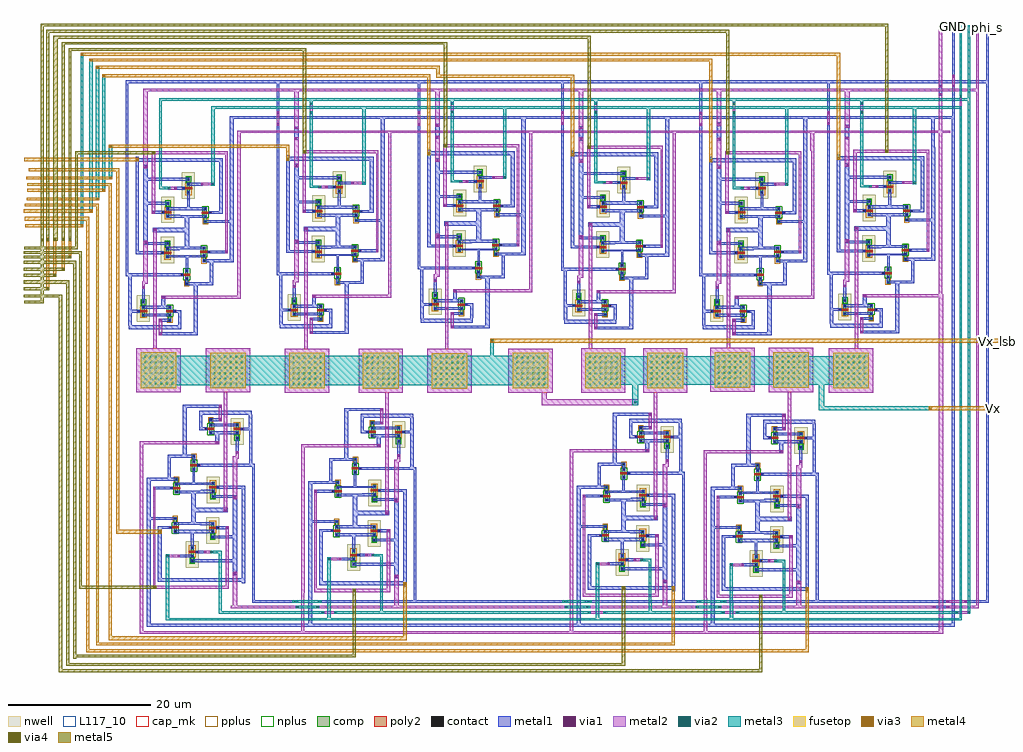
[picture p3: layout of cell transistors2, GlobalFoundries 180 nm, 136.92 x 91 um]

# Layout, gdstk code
from math import pi, radians
import gdstk
lib = gdstk.Library(unit=1e-6, precision=5e-09)
def R(c, l, rs):  # rectangles x0, y0, x1, y1
    for r in rs: c.add(gdstk.rectangle(r[:2], r[2:], *l))
def A(c, l, x, y, w, h, nx, ny, dx, dy):  # array of equal rectangles
    R(c, l, [(x+i*dx, y+j*dy, x+i*dx+w, y+j*dy+h) for i in range(nx) for j in range(ny)])
def P(c, l, *ps):  # polygons
    for p in ps: c.add(gdstk.Polygon(p, *l))
nwell = (21, 0)
comp = (22, 0)
poly2 = (30, 0)
pplus = (31, 0)
nplus = (32, 0)
contact = (33, 0)
metal1 = (34, 0)
via1 = (35, 0)
metal2 = (36, 0)
via2 = (38, 0)
via3 = (40, 0)
via4 = (41, 0)
metal3 = (42, 0)
metal4 = (46, 0)
fusetop = (75, 0)
metal5 = (81, 0)
cap_mk = (117, 5)
L117_10 = (117, 10)

nfet_2 = lib.new_cell('nfet$2')
R(nfet_2, comp, [(-0.42,-0.01,0,0.43), (0.66,-0.01,1.08,0.43), (1.08,-0.01,1.79,0.43), (0,0,0.66,0.42)])
R(nfet_2, poly2, [(0.19,-0.3,0.47,0.72), (0.15,0.72,0.51,1.08)])
R(nfet_2, pplus, [(1.08,-0.17,1.96,0.59)])
R(nfet_2, nplus, [(-0.59,-0.25,1.08,0.67)])
R(nfet_2, contact, [(-0.32,0.1,-0.1,0.32), (0.76,0.1,0.98,0.32), (1.47,0.1,1.69,0.32), (0.22,0.79,0.44,1.01)])
R(nfet_2, metal1, [(-0.4,0.02,-0.02,0.4), (0.68,0.02,1.06,0.4), (1.39,0.02,1.77,0.4), (0.14,0.71,0.52,1.09)])

pfet_1 = lib.new_cell('pfet$1')
R(pfet_1, nwell, [(-1.16,-0.71,2.55,1.13)])
R(pfet_1, comp, [(-0.46,-0.01,0,0.43), (0.66,-0.01,1.12,0.43), (1.12,-0.01,1.85,0.43), (0,0,0.66,0.42)])
R(pfet_1, poly2, [(0.19,-0.3,0.47,0.72), (0.14,0.72,0.52,1.1)])
R(pfet_1, pplus, [(-0.63,-0.25,1.12,0.67)])
R(pfet_1, nplus, [(1.12,-0.17,2.02,0.59)])
R(pfet_1, contact, [(-0.34,0.1,-0.12,0.32), (0.78,0.1,1,0.32), (1.51,0.1,1.73,0.32), (0.22,0.8,0.44,1.02)])
R(pfet_1, metal1, [(-0.42,0.02,-0.04,0.4), (0.7,0.02,1.08,0.4), (1.43,0.02,1.81,0.4), (0.14,0.72,0.52,1.1)])

nfet_1_1 = lib.new_cell('nfet$1$1')
R(nfet_1_1, comp, [(-0.42,-0.01,0,0.43), (0.66,-0.01,1.08,0.43), (1.08,-0.01,1.79,0.43), (0,0,0.66,0.42)])
R(nfet_1_1, poly2, [(0.15,-0.66,0.51,-0.3), (0.19,-0.3,0.47,0.72)])
R(nfet_1_1, pplus, [(1.08,-0.17,1.96,0.59)])
R(nfet_1_1, nplus, [(-0.59,-0.25,1.08,0.67)])
R(nfet_1_1, contact, [(0.22,-0.59,0.44,-0.37), (-0.32,0.1,-0.1,0.32), (0.76,0.1,0.98,0.32), (1.47,0.1,1.69,0.32)])
R(nfet_1_1, metal1, [(0.14,-0.67,0.52,-0.29), (-0.4,0.02,-0.02,0.4), (0.68,0.02,1.06,0.4), (1.39,0.02,1.77,0.4)])

transistors2_1 = lib.new_cell('transistors2$1')
R(transistors2_1, metal1, [(-0.08,-14.76,3.97,-14.37), (3.97,-14.76,5.42,-14.37), (4.82,-14.76,5.42,-7.36), (-4.26,-13.95,3.06,-13.4), (2.66,-13.55,3.06,-13.31), (-4.33,-13.4,-3.85,-11.59), (2.66,-13.31,3.08,-11.24), (-0.08,-12.86,1.66,-12.48), (-2.43,-12.15,-0.38,-11.77), (-0.38,-12.15,1.66,-11.77), (1.97,-11.61,2.66,-11.24), (-4.33,-11.59,-3.9,-6.2), (-4.27,-11.59,-2.75,-11.21), (-2.43,-11.07,1.66,-10.65), (0.27,-11.07,0.81,-9.26), (-2.43,-10.3,-2.02,-7.9), (3.65,-7.74,4.03,-6.65), (3.65,-7.74,7.53,-7.36), (7.09,-7.74,7.53,-4.53), (-4.7,-6.49,-4.33,10.3), (-4.33,-6.49,3.34,-6.11), (3.71,-5.95,4.03,-3.82), (6.09,-4.53,8.32,-4.15), (8.32,-4.53,10.44,-4.15), (9.87,-4.15,10.44,9.46), (0.95,-3.82,6.47,-3.58), (-3.34,-3.4,-0.94,-3.02), (-0.94,-3.4,0.63,-3.02), (6.78,-3.28,8.43,-2.9), (8.43,-3.28,9.57,-2.9), (-3.34,-3.02,-2.88,10.28), (0.95,-2.84,2.89,-2.36), (2.89,-2.74,6.47,-2.36), (3.55,-2.74,4.2,2.07), (-2.26,-2.11,-0.94,-1.73), (-0.94,-2.11,1.33,-1.73), (-2.26,-1.73,-1.6,9.12), (-0.93,-0.335,4.2,0.29), (6.26,0.98,8.8,1.36), (8.8,0.99,9.87,1.36), (1,1.69,2.91,2.09), (2.91,1.69,6.64,2.07), (6.95,2.23,8.91,2.61), (-1.07,2.27,0.68,2.65), (8.38,2.61,8.91,10.07), (1,2.77,6.64,3.21), (3.88,2.77,4.26,5.48), (-1.6,3.55,-1.07,3.94), (-1.07,3.56,1.38,3.94), (2.08,5.66,3.56,6.04), (3.88,6.22,6.11,6.6), (-2.26,6.92,4.26,7.33), (9.87,9.46,10.44,11.38), (-2.88,9.53,8.38,10.07)])
R(transistors2_1, via1, [(0.01,-14.7,0.27,-14.44), (0.005,-12.795,0.265,-12.535), (-0.72,-12.105,-0.46,-11.845), (0.415,-9.625,0.675,-9.365), (-2.34,-8.26,-2.08,-8), (9.27,-3.21,9.53,-2.95), (-2.02,-1.95,-1.76,-1.69), (-0.735,-0.15,-0.475,0.11), (-0.995,2.325,-0.735,2.585), (2.145,5.725,2.405,5.985), (5.8,6.27,6.06,6.53), (-2.045,8.705,-1.785,8.965)])
R(transistors2_1, metal2, [(-0.84,-15.24,-0.37,-8.02), (-0.08,-14.76,0.37,-12.48), (0.27,-9.67,11.4,-9.26), (10.96,-9.67,11.4,11.12), (-2.43,-8.27,-2.02,-7.2), (-0.84,-8.02,-0.37,0.2), (-2.26,-7.53,-1.6,-1.52), (9.24,-3.28,9.57,10.87), (-1.07,2.27,-0.6,11.04), (1.15,5.66,2.43,6.04), (5.79,6.25,7.62,6.6), (-2.26,8.62,-1.6,10.93), (-1,10.61,9.57,11.04)])
R(transistors2_1, via2, [(1.2,5.72,1.46,5.98), (7.35,6.295,7.61,6.555)])
R(transistors2_1, metal3, [(-0.04,5.72,1.53,6.04), (-0.04,5.72,0.34,11.47), (7.31,6.2,7.76,11.64)])
transistors2_1.add(gdstk.Reference(nfet_2, (6.24,2.75), rotation=3*pi/2))
transistors2_1.add(gdstk.Reference(pfet_1, (1.4,2.13), rotation=pi/2))
transistors2_1.add(gdstk.Reference(pfet_1, (1.35,-3.54), rotation=pi/2))
transistors2_1.add(gdstk.Reference(nfet_2, (6.07,-2.76), rotation=3*pi/2))
transistors2_1.add(gdstk.Reference(pfet_1, (4.28,5.52), rotation=pi/2))
transistors2_1.add(gdstk.Reference(nfet_1_1, (3.63,-5.97), rotation=3*pi/2))
transistors2_1.add(gdstk.Reference(nfet_2, (1.26,-11.09), rotation=3*pi/2))
transistors2_1.add(gdstk.Reference(pfet_1, (-2.03,-11.73), rotation=pi/2))
transistors2_1.add(gdstk.Label('Dx', (-3.14,9.88), layer=34, texttype=10))
transistors2_1.add(gdstk.Label('phi_s', (-4.52,10.07), layer=34, texttype=10))
transistors2_1.add(gdstk.Label('GND', (10.2,9.11), layer=34, texttype=10))
transistors2_1.add(gdstk.Label('phi_s_b', (0.19,11.29), layer=42, texttype=10))
transistors2_1.add(gdstk.Label('Vref', (7.5,11.33), layer=42, texttype=10))
transistors2_1.add(gdstk.Label('Dx_b', (-0.89,10.87), layer=36, texttype=10))
transistors2_1.add(gdstk.Label('sw_node', (-0.6,-7.79), layer=36, texttype=10))
transistors2_1.add(gdstk.Label('VDD', (-1.94,10.73), layer=36, texttype=10))
transistors2_1.add(gdstk.Label('Vin', (11.22,10.84), layer=36, texttype=10))

cap_mim_1 = lib.new_cell('cap_mim$1')
R(cap_mim_1, metal2, [(-0.6,-0.6,5.6,5.6)])
A(cap_mim_1, via2, 0.47, 0.47, 0.26, 0.26, 6, 6, 0.76, 0.76)
R(cap_mim_1, metal3, [(0,0,5,5)])
R(cap_mim_1, fusetop, [(0,0,5,5)])
R(cap_mim_1, cap_mk, [(-0.6,-0.6,5.6,5.6)])
R(cap_mim_1, L117_10, [(0,0,5,0.1)])

via_dev = lib.new_cell('via_dev')
R(via_dev, metal1, [(0,0,0.4,0.4)])
R(via_dev, via1, [(0.07,0.07,0.33,0.33)])
R(via_dev, metal2, [(0,0,0.4,0.4)])
R(via_dev, via2, [(0.07,0.07,0.33,0.33)])
R(via_dev, metal3, [(0,0,0.4,0.4)])

via_dev_2 = lib.new_cell('via_dev$2')
R(via_dev_2, metal1, [(0,0,0.4,0.4)])
R(via_dev_2, via1, [(0.07,0.07,0.33,0.33)])
R(via_dev_2, metal2, [(0,0,0.4,0.4)])
R(via_dev_2, via2, [(0.07,0.07,0.33,0.33)])
R(via_dev_2, via3, [(0.07,0.07,0.33,0.33)])
R(via_dev_2, metal3, [(0,0,0.4,0.4)])
R(via_dev_2, metal4, [(0,0,0.4,0.4)])

via_dev_3 = lib.new_cell('via_dev$3')
R(via_dev_3, metal2, [(0,0,0.4,0.4)])
R(via_dev_3, via2, [(0.07,0.07,0.33,0.33)])
R(via_dev_3, via3, [(0.07,0.07,0.33,0.33)])
R(via_dev_3, via4, [(0.07,0.07,0.33,0.33)])
R(via_dev_3, metal3, [(0,0,0.4,0.4)])
R(via_dev_3, metal4, [(0,0,0.4,0.4)])
R(via_dev_3, metal5, [(0,0,0.4,0.4)])

transistors2 = lib.new_cell('transistors2')
R(transistors2, metal1, [(-19.23,-56.59,93.74,-56.23), (-19.21,-56.59,-18.65,-51.65), (3.44,-56.59,4.03,-52.09), (41.11,-56.59,41.65,-52.77), (59.89,-56.59,60.45,-52.91), (93.74,-56.59,94.13,14.61), (91.02,-54.04,93.35,-53.69), (-4.44,-53.29,2.02,-52.89), (-4.44,-53.29,-4.06,-50.57), (4.75,-53.29,17.62,-52.89), (17.62,-53.29,39.89,-52.89), (18.21,-53.29,18.57,-51.01), (42.32,-53.29,54.74,-52.89), (54.74,-53.29,58.56,-52.89), (55.88,-53.29,56.26,-51.69), (61.24,-53.29,74.37,-52.89), (74.37,-53.29,93.39,-52.89), (74.66,-53.29,75.04,-51.83), (95.43,-53.29,98.52,-52.89), (98.52,-53.29,98.9,20.03), (58.31,9.34,58.68,13.99), (-22.15,9.35,-21.78,20.03), (-0.99,9.51,-0.62,14.07), (76.25,9.58,76.62,14.16), (38.92,10.14,39.29,14.16), (18.78,10.3,19.15,14.03), (72.88,10.42,73.47,14.97), (-7.58,10.43,-7.01,14.97), (13.58,10.59,14.17,14.97), (90.82,10.66,91.36,14.97), (53.49,11.22,54.08,14.97), (33.35,11.38,33.94,14.97), (60.75,11.53,61.41,14.14), (41.36,11.55,42.02,13.58), (1.45,11.67,2.11,13.53), (78.69,11.75,79.35,13.82), (21.22,11.84,21.88,13.94), (-7.01,14.61,94.13,14.97), (93.76,14.97,94.13,19.42), (58.31,15.22,58.68,20.03), (76.25,15.23,76.61,20.03), (-0.99,15.3,-0.61,20.03), (38.92,15.33,39.28,20.03), (18.78,15.34,19.17,20.03), (91.91,17.85,92.41,19.42), (-21.78,19.63,98.52,20.03), (98.52,20.03,98.9,27.78), (93.76,20.4,94.13,27.79)])
R(transistors2, via1, [(91.08,-54,91.34,-53.74), (92.97,-53.99,93.23,-53.73), (92.99,-53.21,93.25,-52.95), (95.48,-53.21,95.74,-52.95), (60.96,11.64,61.22,11.9), (1.53,11.71,1.8,11.98), (41.57,11.71,41.83,11.97), (78.89,11.81,79.15,12.07), (21.37,11.93,21.63,12.19), (1.6,13.22,1.86,13.48), (41.56,13.28,41.82,13.54), (78.89,13.5,79.15,13.76), (21.42,13.61,21.68,13.87), (58.37,13.68,58.63,13.94), (18.84,13.72,19.1,13.98), (-0.93,13.76,-0.67,14.02), (60.93,13.79,61.19,14.05), (76.32,13.84,76.58,14.1), (38.97,13.86,39.23,14.12), (58.37,15.3,58.63,15.56), (76.3,15.36,76.56,15.62), (18.82,15.41,19.08,15.67), (38.96,15.41,39.22,15.67), (-0.94,15.42,-0.68,15.68), (91.99,17.91,92.25,18.17), (91.98,19.09,92.24,19.35), (93.81,19.12,94.07,19.38), (93.81,20.48,94.07,20.74)])
R(transistors2, metal2, [(-20.17,-57.63,-19.73,-51.39), (-19.73,-57.63,92.49,-57.27), (2.48,-57.63,2.9,-51.83), (40.15,-57.63,40.58,-52.51), (58.93,-57.63,59.41,-52.65), (91.91,-57.27,92.49,-9.95), (5.27,-54.83,7.39,-54.48), (42.68,-54.83,45.16,-54.48), (61.46,-54.83,63.84,-54.48), (94.28,-54.83,96.29,-54.48), (-7.47,-54.04,2.08,-53.69), (-7.17,-54.04,-6.53,-51.2), (4.57,-54.04,15.07,-53.69), (15.07,-54.04,39.86,-53.69), (15.48,-54.04,16.16,-51.64), (42.42,-54.04,52.79,-53.69), (52.79,-54.04,58.28,-53.69), (53.15,-54.04,53.81,-52.32), (60.94,-54.04,71.72,-53.69), (71.72,-54.04,91.5,-53.69), (71.93,-54.04,72.6,-52.46), (92.92,-54.04,97.49,-53.69), (97.16,-54.04,97.49,18.83), (92.91,-53.29,95.85,-52.89), (70.7,-26.29,71.17,-23.38), (51.92,-26.15,52.39,-23.46), (36.16,-25.57,49.76,-24.73), (14.25,-25.47,14.72,-23.46), (-8.4,-25.03,-7.93,-23.41), (36.16,-24.73,36.89,-23.42), (42.78,-18.11,43.25,-15.4), (-18.29,-18.02,-17.82,-16.19), (2.87,-18,3.34,-16.03), (22.64,-17.97,23.11,-15.24), (80.11,-17.93,80.58,-15.96), (62.17,-17.83,62.64,-16.2), (60.75,9.97,61.41,11.97), (-19.71,9.98,-19.05,18.5), (1.45,10.14,2.11,12.08), (73.89,10.16,74.41,12.98), (-6.49,10.17,-6.05,12.98), (78.69,10.21,79.35,12.15), (14.66,10.33,15.11,12.98), (91.91,10.4,92.35,12.98), (41.36,10.77,42.02,12.07), (21.22,10.93,21.88,12.26), (54.6,10.96,55.02,12.98), (34.43,11.12,34.88,12.98), (-6.05,12.67,93.47,12.98), (91.91,12.98,92.41,18.24), (1.45,13.17,2.11,18.83), (41.36,13.2,42.02,18.83), (78.69,13.35,79.37,18.83), (21.22,13.5,21.89,18.83), (58.31,13.6,58.68,15.6), (60.77,13.62,61.41,18.83), (18.78,13.63,19.15,15.71), (-0.99,13.68,-0.62,15.72), (76.25,13.78,76.62,15.67), (38.92,13.79,39.29,15.71), (3.67,15.27,4.05,16.92), (62.97,15.3,63.35,16.96), (80.91,15.34,81.29,16.96), (43.58,15.35,43.96,16.95), (23.44,15.39,23.82,16.96), (94.81,16.03,95.14,17.91), (-19.71,18.5,97.16,18.83), (97.16,18.83,97.49,27.82), (91.91,19.02,92.41,27.76), (93.76,19.09,94.13,20.78)])
P(transistors2, metal2, [(-6.05,12.67),(-6.05,12.98),(-6.05,12.98),(-6.05,12.67)])
R(transistors2, via2, [(96.01,-54.8,96.27,-54.54), (63.46,-54.79,63.72,-54.53), (7.09,-54.78,7.35,-54.52), (42.72,-54.78,42.98,-54.52), (44.85,-54.78,45.11,-54.52), (61.52,-54.78,61.78,-54.52), (94.32,-54.78,94.58,-54.52), (5.31,-54.77,5.57,-54.51), (42.48,-54,42.74,-53.74), (61,-54,61.26,-53.74), (1.75,-53.99,2.01,-53.73), (4.62,-53.99,4.88,-53.73), (39.47,-53.99,39.73,-53.73), (57.88,-53.99,58.14,-53.73), (49.19,-25.25,49.45,-24.99), (3.73,15.35,3.99,15.61), (63.03,15.38,63.29,15.64), (80.98,15.42,81.24,15.68), (43.65,15.44,43.91,15.7), (23.5,15.46,23.76,15.72), (94.82,16.1,95.08,16.36), (3.72,16.62,3.98,16.88), (63.05,16.63,63.31,16.89), (43.65,16.64,43.91,16.9), (80.97,16.64,81.23,16.9), (23.5,16.65,23.76,16.91), (94.85,17.61,95.11,17.87)])
R(transistors2, via3, [(90.59,-26.15,90.85,-25.89), (29.07,-16.73,29.33,-16.47), (-28.43,-0.49,-28.17,-0.23), (-27.23,1.53,-26.97,1.79), (-26.26,3.29,-26,3.55), (-25.37,4.47,-25.11,4.73), (-24.47,6.2,-24.21,6.46), (-24.44,10.65,-24.18,10.91), (-25.36,20.52,-25.1,20.78), (-26.28,21.74,-26.02,22), (-27.25,22.77,-26.99,23.03), (-28.44,23.57,-28.18,23.83)])
R(transistors2, via4, [(-33.24,-9.34,-32.98,-9.08), (-32.28,-7.46,-32.02,-7.2), (-31.05,-6.57,-30.79,-6.31), (-30.14,-4.89,-29.88,-4.63), (-30.13,-2.46,-29.87,-2.2), (-34,-2.45,-33.74,-2.19), (-33.23,-2.43,-32.97,-2.17), (-31.07,-2.41,-30.81,-2.15), (-32.27,-2.38,-32.01,-2.12)])
R(transistors2, metal3, [(-16.54,-55.73,94.81,-55.41), (-16.53,-55.73,-16.06,-51.91), (6.12,-55.73,6.59,-52.35), (43.79,-55.73,44.28,-53.03), (62.57,-55.73,63.04,-53.17), (94.81,-55.73,95.14,16.03), (-9.11,-54.83,-8.72,-51.74), (-9.11,-54.83,5.66,-54.45), (7.05,-54.83,13.52,-54.48), (13.52,-54.83,43.06,-54.48), (13.54,-54.83,13.89,-52.18), (44.8,-54.83,50.34,-54.48), (50.34,-54.83,61.87,-54.48), (63.39,-54.83,69.98,-54.48), (69.98,-54.83,94.64,-54.48), (95.98,-54.83,96.29,17.49), (51.21,-54.48,51.6,-52.86), (69.99,-54.48,70.35,-53), (1.7,-54.04,4.96,-53.69), (39.42,-54.04,43.02,-53.69), (57.83,-54.04,61.37,-53.69), (1.21,-53.29,5.3,-52.89), (39.07,-53.29,43.19,-52.89), (57.93,-53.29,62.09,-52.89), (75.04,-26.24,75.8,-22.7), (75.8,-26.24,90.94,-25.72), (48.88,-25.57,49.76,-22.7), (-19.59,-22.73,36.65,-18.62), (42.78,-22.7,81.6,-18.65), (28.95,-18.62,29.49,-16.39), (-28.5,-0.57,-28.11,23.87), (-27.31,1.46,-26.83,23.08), (-26.34,3.2,-25.88,22.09), (-25.43,4.42,-25.06,4.79), (-25.43,4.79,-25.06,20.84), (-24.54,6.13,-24.08,10.99), (62.97,10.51,63.35,15.7), (-17.49,10.52,-17.11,17.14), (3.67,10.68,4.05,15.66), (70.34,10.68,70.77,16.42), (-10.14,10.69,-9.69,16.03), (80.91,10.75,81.29,15.74), (11.02,10.85,11.49,16.42), (88.23,10.92,88.71,16.42), (43.58,11.31,43.96,15.76), (23.44,11.47,23.82,15.78), (50.93,11.48,51.38,16.42), (30.8,11.64,31.24,16.42), (-10.14,16.03,95.14,16.42), (3.67,16.55,4.04,17.49), (62.97,16.56,63.34,17.49), (43.58,16.58,43.97,17.49), (23.44,16.6,23.82,17.49), (80.91,16.6,81.3,17.49), (-17.49,17.14,95.98,17.49), (95.98,17.49,96.29,27.79), (94.81,17.6,95.14,27.79)])
R(transistors2, metal4, [(-27.69,-60.18,73.21,-59.76), (73.21,-60.18,73.66,-51.06), (-27.69,-59.76,-27.29,0.88), (-22.61,-59.23,15.3,-58.89), (15.3,-59.23,54.86,-58.89), (54.43,-59.23,54.86,-50.92), (-26.32,-59.22,-25.93,2.75), (-25.93,-59.22,-22.61,-58.89), (-21.07,-58.5,17.22,-57.98), (16.76,-58.5,17.22,-50.38), (-24.52,-58.49,-24.15,5.57), (-24.15,-58.49,-21.07,-57.98), (-23.47,-43.57,-23.07,7.71), (-23.07,-43.57,-21.66,-43), (-21.66,-43.56,-17.15,-43), (90.48,-26.24,99.82,-25.72), (28.95,-16.78,100.41,-16.19), (-33.32,-9.41,-32.88,-2.07), (-32.37,-7.54,-31.89,-2.03), (-31.13,-6.65,-30.72,-2.11), (-30.19,-4.95,-29.83,-2.12), (-36.28,-0.57,-33.92,-0.16), (-33.92,-0.57,-28.11,-0.16), (-36.33,0.33,-33.94,0.88), (-33.94,0.33,-27.69,0.88), (-36.44,1.46,-33.86,1.91), (-33.86,1.46,-26.83,1.91), (-36.32,2.36,-33.88,2.75), (-33.88,2.36,-26.32,2.75), (-36.06,3.2,-33.89,3.59), (-33.89,3.2,-25.88,3.59), (-36,4.42,-34.01,4.79), (-34.01,4.42,-25.06,4.79), (-35.97,5.23,-33.81,5.57), (-33.81,5.23,-24.52,5.57), (-36.11,6.13,-33.84,6.52), (-33.84,6.13,-24.08,6.52), (-35.74,7.26,-33.78,7.71), (-33.78,7.26,-23.47,7.71), (59.67,8.57,60.13,22.24), (-36.37,8.69,-33.72,9.18), (-33.72,8.69,-29.63,9.18), (-29.63,8.69,-20.33,9.18), (0.37,8.73,0.8,10.99), (77.61,8.88,78.04,23.87), (40.28,9.4,40.74,20.84), (20.14,9.53,20.57,20.85), (-24.54,10.59,0.8,10.99), (21.4,20.42,40.28,20.84), (-25.43,20.46,-24.43,20.85), (-24.43,20.48,20.57,20.85), (21.4,20.84,21.89,22.09), (-26.34,21.63,21.4,22.09), (59.67,22.24,60.14,22.7), (-27.31,22.7,60.14,23.08), (-28.5,23.5,77.61,23.87)])
R(transistors2, metal5, [(-31.57,-63.02,67.16,-62.62), (-31.57,-62.62,-31.05,-10.02), (66.7,-62.62,67.16,-60.6), (-30.5,-62.13,47.88,-61.73), (-30.5,-61.73,-30.08,-8), (47.44,-61.73,47.88,-58.41), (-29.52,-61.12,-29.09,-5.3), (-29.09,-60.9,9.69,-60.57), (9.69,-60.9,10.11,-51.32), (66.7,-60.6,67.16,-52.14), (47.44,-58.41,47.9,-50.92), (-28.67,-51.31,-17.91,-50.88), (-28.67,-50.88,-28.31,-3.94), (-36.43,-11.23,-34.07,-10.87), (-34.07,-11.23,-33.64,-2.1), (-36.44,-10.43,-31.57,-10.02), (-36.44,-9.41,-32.88,-8.97), (-36.44,-8.49,-34,-8), (-34,-8.49,-30.5,-8), (-36.44,-7.54,-33.99,-7.12), (-33.99,-7.54,-31.89,-7.12), (-36.47,-6.65,-34.03,-6.25), (-34.03,-6.65,-30.72,-6.25), (-36.51,-5.69,-33.87,-5.3), (-33.87,-5.69,-29.52,-5.3), (-36.51,-4.95,-33.92,-4.58), (-33.92,-4.95,-29.83,-4.58), (-36.51,-4.3,-33.91,-3.94), (-33.91,-4.3,-28.67,-3.94), (-36.4,-3.67,-33.92,-3.29), (-33.92,-3.67,-29.25,-3.29), (-29.25,-3.67,-28.87,9.66), (-34.07,-2.52,-33.64,27.61), (-30.19,-2.52,-29.83,24.55), (-33.32,-2.51,-32.88,26.72), (-32.37,-2.48,-31.74,25.87), (-31.13,-2.47,-30.72,25.08), (62.05,9.65,62.49,24.11), (-29.25,9.66,-18.05,10.09), (2.64,9.82,3.14,24.54), (84.4,9.89,84.83,20.59), (42.62,10.45,43.05,21.81), (22.48,10.61,22.95,25.08), (84.4,20.59,84.81,27.61), (42.62,21.81,43.1,25.87), (62.05,24.11,62.48,26.72), (-29.83,24.17,2.64,24.54), (-31.13,25.08,22.95,25.4), (-32.37,25.87,43.1,26.3), (-33.32,26.72,62.48,27.14), (-34.07,27.61,84.81,27.98)])
transistors2.add(gdstk.Reference(transistors2_1, (43.62,-0.16)))
transistors2.add(gdstk.Reference(cap_mim_1, (32.12,-23.2)))
transistors2.add(gdstk.Reference(cap_mim_1, (0.76,-23.2)))
transistors2.add(gdstk.Reference(transistors2_1, (23.48,0)))
transistors2.add(gdstk.Reference(transistors2_1, (3.71,-0.79)))
transistors2.add(gdstk.Reference(transistors2_1, (-17.45,-0.95)))
transistors2.add(gdstk.Reference(transistors2_1, (63.01,-0.96)))
transistors2.add(gdstk.Reference(transistors2_1, (80.95,-0.72)))
transistors2.add(gdstk.Reference(transistors2_1, (70.33,-41.53), rotation=pi))
transistors2.add(gdstk.Reference(transistors2_1, (-8.77,-40.27), rotation=pi))
transistors2.add(gdstk.Reference(transistors2_1, (13.88,-40.71), rotation=pi))
transistors2.add(gdstk.Reference(transistors2_1, (51.55,-41.39), rotation=pi))
transistors2.add(gdstk.Reference(cap_mim_1, (-20.06,-23.15)))
transistors2.add(gdstk.Reference(cap_mim_1, (11.1,-23.21)))
transistors2.add(gdstk.Reference(cap_mim_1, (20.75,-23.23)))
transistors2.add(gdstk.Reference(cap_mim_1, (-10.31,-23.16)))
transistors2.add(gdstk.Reference(cap_mim_1, (42.31,-23.18)))
transistors2.add(gdstk.Reference(cap_mim_1, (51.01,-23.17)))
transistors2.add(gdstk.Reference(cap_mim_1, (60.44,-23.09)))
transistors2.add(gdstk.Reference(cap_mim_1, (68.65,-23.11)))
transistors2.add(gdstk.Reference(cap_mim_1, (77.07,-23.17)))
transistors2.add(gdstk.Reference(via_dev, (61.48,-53.29)))
transistors2.add(gdstk.Reference(via_dev, (57.99,-53.29)))
transistors2.add(gdstk.Reference(via_dev, (42.61,-53.29)))
transistors2.add(gdstk.Reference(via_dev, (39.3,-53.29)))
transistors2.add(gdstk.Reference(via_dev, (1.4,-53.29)))
transistors2.add(gdstk.Reference(via_dev, (4.79,-53.29)))
transistors2.add(gdstk.Reference(via_dev_2, (-20.77,8.69)))
transistors2.add(gdstk.Reference(via_dev_2, (0.4,8.78)))
transistors2.add(gdstk.Reference(via_dev_2, (-17.61,-43.47)))
transistors2.add(gdstk.Reference(via_dev_2, (16.79,-50.87)))
transistors2.add(gdstk.Reference(via_dev_2, (20.17,9.63)))
transistors2.add(gdstk.Reference(via_dev_2, (40.31,9.47)))
transistors2.add(gdstk.Reference(via_dev_2, (54.46,-51.47)))
transistors2.add(gdstk.Reference(via_dev_2, (59.7,8.63)))
transistors2.add(gdstk.Reference(via_dev_2, (73.26,-51.58)))
transistors2.add(gdstk.Reference(via_dev_2, (77.64,8.91)))
transistors2.add(gdstk.Reference(via_dev_3, (-18.45,9.66)))
transistors2.add(gdstk.Reference(via_dev_3, (-18.32,-51.3)))
transistors2.add(gdstk.Reference(via_dev_3, (2.69,9.81)))
transistors2.add(gdstk.Reference(via_dev_3, (9.71,-51.73)))
transistors2.add(gdstk.Reference(via_dev_3, (22.55,10.63)))
transistors2.add(gdstk.Reference(via_dev_3, (42.65,10.47)))
transistors2.add(gdstk.Reference(via_dev_3, (47.5,-51.41)))
transistors2.add(gdstk.Reference(via_dev_3, (62.09,9.66)))
transistors2.add(gdstk.Reference(via_dev_3, (66.76,-52.56)))
transistors2.add(gdstk.Reference(via_dev_3, (84.43,9.91)))
transistors2.add(gdstk.Label('phi_s', (98.68,27.51), layer=34, texttype=10))
transistors2.add(gdstk.Label('GND', (93.93,27.61), layer=34, texttype=10))
transistors2.add(gdstk.Label('phi_s_b', (96.13,27.66), layer=42, texttype=10))
transistors2.add(gdstk.Label('VREF', (94.97,27.68), layer=42, texttype=10))
transistors2.add(gdstk.Label('VDD', (97.35,27.65), layer=36, texttype=10))
transistors2.add(gdstk.Label('Vin', (92.12,27.65), layer=36, texttype=10))
transistors2.add(gdstk.Label('Vx_lsb', (100.11,-16.58), layer=46, texttype=10))
transistors2.add(gdstk.Label('Vx', (99.56,-26.06), layer=46, texttype=10))

lib.write_gds('transistors2.gds')
